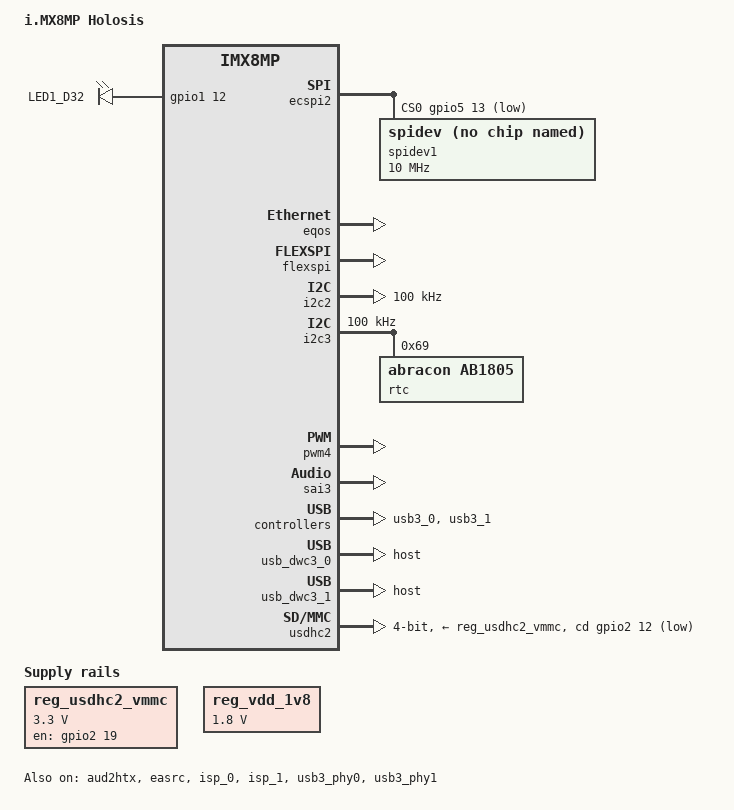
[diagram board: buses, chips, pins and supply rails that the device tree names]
/dts-v1/;

#include <dt-bindings/usb/pd.h>
#include "imx8mp-sr-som.dtsi"

/ {
	model = "i.MX8MP Holosis";
	compatible = "fsl,imx8mp-sr-som", "fsl,imx8mp";

	leds {
		compatible = "gpio-leds";
		pinctrl-names = "default";
		pinctrl-0 = <&pinctrl_gpio_led>;

		LED1_D32 {
			label = "LED1_D32";
			gpios = <&gpio1 12 0>;
			default-state = "on";
		};
	};

	reg_usdhc2_vmmc: regulator-usdhc2 {
		compatible = "regulator-fixed";
		pinctrl-names = "default";
		pinctrl-0 = <&pinctrl_reg_usdhc2_vmmc>;
		regulator-name = "VSD_3V3";
		regulator-min-microvolt = <3300000>;
		regulator-max-microvolt = <3300000>;
		gpio = <&gpio2 19 GPIO_ACTIVE_HIGH>;
		enable-active-high;
	};

	reg_vdd_1v8: regulator-vdd-1v8 {
		compatible = "regulator-fixed";
		regulator-name = "VDD_1V8";
		vdd-3v3-supply = <&buck4>;
		regulator-min-microvolt = <1800000>;
		regulator-max-microvolt = <1800000>;
		regulator-always-on;
	};
};

&aud2htx {
	status = "okay";
};

&basler_1 {
        status = "disabled";
};

&easrc {
	fsl,asrc-rate  = <48000>;
	status = "okay";
};

&ecspi2 {
	#address-cells = <1>;
	#size-cells = <0>;
	fsl,spi-num-chipselects = <1>;
	pinctrl-names = "default";
	pinctrl-0 = <&pinctrl_ecspi2 &pinctrl_ecspi2_cs>;
	cs-gpios = <&gpio5 13 GPIO_ACTIVE_LOW>;
	status = "okay";

	spidev1: spi@0 {
		reg = <0>;
		compatible = "rohm,dh2228fv"; /* spidev */
		spi-max-frequency = <10000000>;
		status = "okay";
	};
};

/*eth0*/
&eqos {
	status = "okay";
};

&flexspi {
	pinctrl-names = "default";
	pinctrl-0 = <&pinctrl_flexspi0>;
	status = "okay";
};

&i2c2 {
	clock-frequency = <100000>;
	pinctrl-names = "default";
	pinctrl-0 = <&pinctrl_i2c2>;
	status = "okay";
};

&i2c3 {
	clock-frequency = <100000>;
	pinctrl-names = "default";
	pinctrl-0 = <&pinctrl_i2c3>;
	status = "okay";

	rtc: rtc@69 {
		compatible = "abracon,ab1805";
		reg = <0x69>;
		abracon,tc-diode = "schottky";
		abracon,tc-resistor = <3>;
	};
};

&irqsteer_hdmi {
	status = "disabled";
};

&hdmi {
	status = "disabled";
};

&hdmi_blk_ctrl {
	status = "disabled";
};

&hdmi_pavi {
	status = "disabled";
};

&hdmiphy {
	status = "disabled";
};

&isp_0 {
	status = "okay";
};

&isp_1 {
	status = "okay";
};

&lcdif1 {
	status = "disabled";
};

&lcdif3 {
	status = "disabled";
};

&micfil {
	pinctrl-names = "default";
	pinctrl-0 = <&pinctrl_pdm>;
	assigned-clocks = <&clk IMX8MP_CLK_PDM>;
	assigned-clock-parents = <&clk IMX8MP_AUDIO_PLL1_OUT>;
	assigned-clock-rates = <196608000>;
	status = "disabled";
};

&mipi_csi_0 {
	#address-cells = <1>;
	#size-cells = <0>;
	clock-frequency = <266000000>;
	assigned-clock-parents = <&clk IMX8MP_SYS_PLL1_266M>;
	assigned-clock-rates = <266000000>;
	status = "disabled";

};

&mipi_csi_1 {
	status = "disabled";
};

&mipi_dsi {
	status = "disabled";
};

&pcie{
	pinctrl-names = "default";
	// PCIe reset signals are board-related
	ext_osc = <0>;
	clocks = <&clk IMX8MP_CLK_HSIO_ROOT>,
		 <&clk IMX8MP_CLK_PCIE_AUX>,
		 <&clk IMX8MP_CLK_HSIO_AXI>,
		 <&clk IMX8MP_CLK_PCIE_ROOT>;
	clock-names = "pcie", "pcie_aux", "pcie_phy", "pcie_bus";
	assigned-clocks = <&clk IMX8MP_CLK_HSIO_AXI>,
			  <&clk IMX8MP_CLK_PCIE_AUX>;
	assigned-clock-rates = <500000000>, <10000000>;
	assigned-clock-parents = <&clk IMX8MP_SYS_PLL2_500M>,
				 <&clk IMX8MP_SYS_PLL2_50M>;
	status = "disabled";
};

&pcie_phy{
	ext_osc = <0>;
	status = "disabled";
};

&pwm4 {
	pinctrl-names = "default";
	pinctrl-0 = <&pinctrl_pwm4>;
	status = "okay";
};

&sai3 {
	#sound-dai-cells = <0>;
	pinctrl-names = "default";
	pinctrl-0 = <&pinctrl_sai3>;
        assigned-clocks = <&clk IMX8MP_CLK_SAI3>;
        assigned-clock-parents = <&clk IMX8MP_AUDIO_PLL1_OUT>;
        assigned-clock-rates = <12288000>;
        clocks = <&audio_blk_ctrl IMX8MP_CLK_AUDIO_BLK_CTRL_SAI3_IPG>, <&clk IMX8MP_CLK_DUMMY>,
                 <&audio_blk_ctrl IMX8MP_CLK_AUDIO_BLK_CTRL_SAI3_MCLK1>, <&clk IMX8MP_CLK_DUMMY>,
                 <&clk IMX8MP_CLK_DUMMY>;
        clock-names = "bus", "mclk0", "mclk1", "mclk2", "mclk3";
        fsl,sai-mclk-direction-output;
	status = "okay";
};

&sdma2 {
        status = "okay";
};

&uart3 {
	pinctrl-names = "default";
	assigned-clocks = <&clk IMX8MP_CLK_UART3>;
	assigned-clock-parents = <&clk IMX8MP_SYS_PLL1_80M>;
	status = "disabled";
};

&usb3_phy0 {
	fsl,phy-tx-vref-tune = <0xe>;
	fsl,phy-tx-preemp-amp-tune = <3>;
	fsl,phy-tx-vboost-level = <5>;
	fsl,phy-comp-dis-tune = <7>;
	fsl,pcs-tx-deemph-3p5db = <0x21>;
	fsl,phy-pcs-tx-swing-full = <0x7f>;
	status = "okay";
};

&usb3_0 {
	status = "okay";
};

&usb_dwc3_0 {
	dr_mode = "host";
	snps,dis-u1-entry-quirk;
	snps,dis-u2-entry-quirk;
	status = "okay";
};

&usb3_phy1 {
	fsl,phy-tx-vref-tune = <0xe>;
	fsl,phy-tx-preemp-amp-tune = <3>;
	fsl,phy-tx-vboost-level = <5>;
	fsl,phy-comp-dis-tune = <7>;
	fsl,pcs-tx-deemph-3p5db = <0x21>;
	fsl,phy-pcs-tx-swing-full = <0x7f>;
	status = "okay";
};

&usb3_1 {
	status = "okay";
};

&usb_dwc3_1 {
	dr_mode = "host";
	snps,dis-u1-entry-quirk;
	snps,dis-u2-entry-quirk;
	status = "okay";
};

&usdhc2 {
	assigned-clocks = <&clk IMX8MP_CLK_USDHC2>;
	assigned-clock-rates = <400000000>;
	pinctrl-names = "default", "state_100mhz", "state_200mhz";
	pinctrl-0 = <&pinctrl_usdhc2>, <&pinctrl_usdhc2_gpio>;
	pinctrl-1 = <&pinctrl_usdhc2_100mhz>, <&pinctrl_usdhc2_gpio>;
	pinctrl-2 = <&pinctrl_usdhc2_200mhz>, <&pinctrl_usdhc2_gpio>;
	cd-gpios = <&gpio2 12 GPIO_ACTIVE_LOW>;
	vmmc-supply = <&reg_usdhc2_vmmc>;
	voltage-ranges = <1800 1800 3300 3300>;
	bus-width = <4>;
	status = "okay";
};

&iomuxc {
	pinctrl-names = "default";
	pinctrl-0 = <&pinctrl_hog>;

	pinctrl_ecspi2: ecspi2grp {
		fsl,pins = <
			MX8MP_IOMUXC_ECSPI2_SCLK__ECSPI2_SCLK		0x82
			MX8MP_IOMUXC_ECSPI2_MOSI__ECSPI2_MOSI		0x82
			MX8MP_IOMUXC_ECSPI2_MISO__ECSPI2_MISO		0x82
		>;
	};

	pinctrl_ecspi2_cs: ecspi2cs {
		fsl,pins = <
			MX8MP_IOMUXC_ECSPI2_SS0__GPIO5_IO13		0x40000
		>;
	};

	pinctrl_gpio_led: gpioledgrp {
		fsl,pins = <
			MX8MP_IOMUXC_GPIO1_IO12__GPIO1_IO12		0x19
		>;
	};

	pinctrl_hog: hoggrp {
			fsl,pins = <
			>;
	};

	pinctrl_i2c2: i2c2grp {
		fsl,pins = <
			MX8MP_IOMUXC_I2C2_SCL__I2C2_SCL			0x400001c3
			MX8MP_IOMUXC_I2C2_SDA__I2C2_SDA			0x400001c3
		>;
	};

	pinctrl_i2c3: i2c3grp {
		fsl,pins = <
			MX8MP_IOMUXC_I2C3_SCL__I2C3_SCL			0x400001c3
			MX8MP_IOMUXC_I2C3_SDA__I2C3_SDA			0x400001c3
		>;
	};

	pinctrl_flexspi0: flexspi0grp {
		fsl,pins = <
			MX8MP_IOMUXC_NAND_ALE__FLEXSPI_A_SCLK		0x1c2
			MX8MP_IOMUXC_NAND_CE0_B__FLEXSPI_A_SS0_B	0x82
			MX8MP_IOMUXC_NAND_DATA00__FLEXSPI_A_DATA00	0x82
			MX8MP_IOMUXC_NAND_DATA01__FLEXSPI_A_DATA01	0x82
			MX8MP_IOMUXC_NAND_DATA03__FLEXSPI_A_DATA03	0x82
		>;
	};

	pinctrl_pdm: pdmgrp {
		fsl,pins = <
			MX8MP_IOMUXC_SAI5_RXC__AUDIOMIX_PDM_CLK			0xd6
			MX8MP_IOMUXC_SAI5_RXD0__AUDIOMIX_PDM_BIT_STREAM00	0xd6
			MX8MP_IOMUXC_SAI5_RXD1__AUDIOMIX_PDM_BIT_STREAM01	0xd6
			MX8MP_IOMUXC_SAI5_RXD2__AUDIOMIX_PDM_BIT_STREAM02	0xd6
			MX8MP_IOMUXC_SAI5_RXD3__AUDIOMIX_PDM_BIT_STREAM03	0xd6
		>;
	};

	pinctrl_pwm4: pwm4grp {
		fsl,pins = <
			MX8MP_IOMUXC_SAI5_RXFS__PWM4_OUT		0x116
		>;
	};

	pinctrl_reg_usdhc2_vmmc: regusdhc2vmmcgrp {
		fsl,pins = <
			MX8MP_IOMUXC_SD2_RESET_B__GPIO2_IO19		0x40
		>;
	};

	pinctrl_sai3: sai3grp {
		fsl,pins = <
			MX8MP_IOMUXC_SAI3_MCLK__AUDIOMIX_SAI3_MCLK	0xd6
			MX8MP_IOMUXC_SAI3_TXFS__AUDIOMIX_SAI3_TX_SYNC	0xd6
			MX8MP_IOMUXC_SAI3_TXC__AUDIOMIX_SAI3_TX_BCLK	0xd6
			MX8MP_IOMUXC_SAI3_TXD__AUDIOMIX_SAI3_TX_DATA00	0xd6
			MX8MP_IOMUXC_SAI3_RXD__AUDIOMIX_SAI3_RX_DATA00	0xd6
		>;
	};

	pinctrl_usdhc2: usdhc2grp {
		fsl,pins = <
			MX8MP_IOMUXC_SD2_CLK__USDHC2_CLK		0x190
			MX8MP_IOMUXC_SD2_CMD__USDHC2_CMD		0x1d0
			MX8MP_IOMUXC_SD2_DATA0__USDHC2_DATA0		0x1d0
			MX8MP_IOMUXC_SD2_DATA1__USDHC2_DATA1		0x1d0
			MX8MP_IOMUXC_SD2_DATA2__USDHC2_DATA2		0x1d0
			MX8MP_IOMUXC_SD2_DATA3__USDHC2_DATA3		0x1d0
			MX8MP_IOMUXC_GPIO1_IO04__USDHC2_VSELECT		0xc1
		>;
	};

	pinctrl_usdhc2_100mhz: usdhc2grp-100mhz {
		fsl,pins = <
			MX8MP_IOMUXC_SD2_CLK__USDHC2_CLK		0x194
			MX8MP_IOMUXC_SD2_CMD__USDHC2_CMD		0x1d4
			MX8MP_IOMUXC_SD2_DATA0__USDHC2_DATA0		0x1d4
			MX8MP_IOMUXC_SD2_DATA1__USDHC2_DATA1		0x1d4
			MX8MP_IOMUXC_SD2_DATA2__USDHC2_DATA2		0x1d4
			MX8MP_IOMUXC_SD2_DATA3__USDHC2_DATA3		0x1d4
			MX8MP_IOMUXC_GPIO1_IO04__USDHC2_VSELECT 	0xc1
		>;
	};

	pinctrl_usdhc2_200mhz: usdhc2grp-200mhz {
		fsl,pins = <
			MX8MP_IOMUXC_SD2_CLK__USDHC2_CLK		0x196
			MX8MP_IOMUXC_SD2_CMD__USDHC2_CMD		0x1d6
			MX8MP_IOMUXC_SD2_DATA0__USDHC2_DATA0		0x1d6
			MX8MP_IOMUXC_SD2_DATA1__USDHC2_DATA1		0x1d6
			MX8MP_IOMUXC_SD2_DATA2__USDHC2_DATA2		0x1d6
			MX8MP_IOMUXC_SD2_DATA3__USDHC2_DATA3		0x1d6
			MX8MP_IOMUXC_GPIO1_IO04__USDHC2_VSELECT 	0xc1
		>;
	};

	pinctrl_usdhc2_gpio: usdhc2grp-gpio {
		fsl,pins = <
			MX8MP_IOMUXC_SD2_CD_B__GPIO2_IO12 		0x1c4
		>;
	};
};
